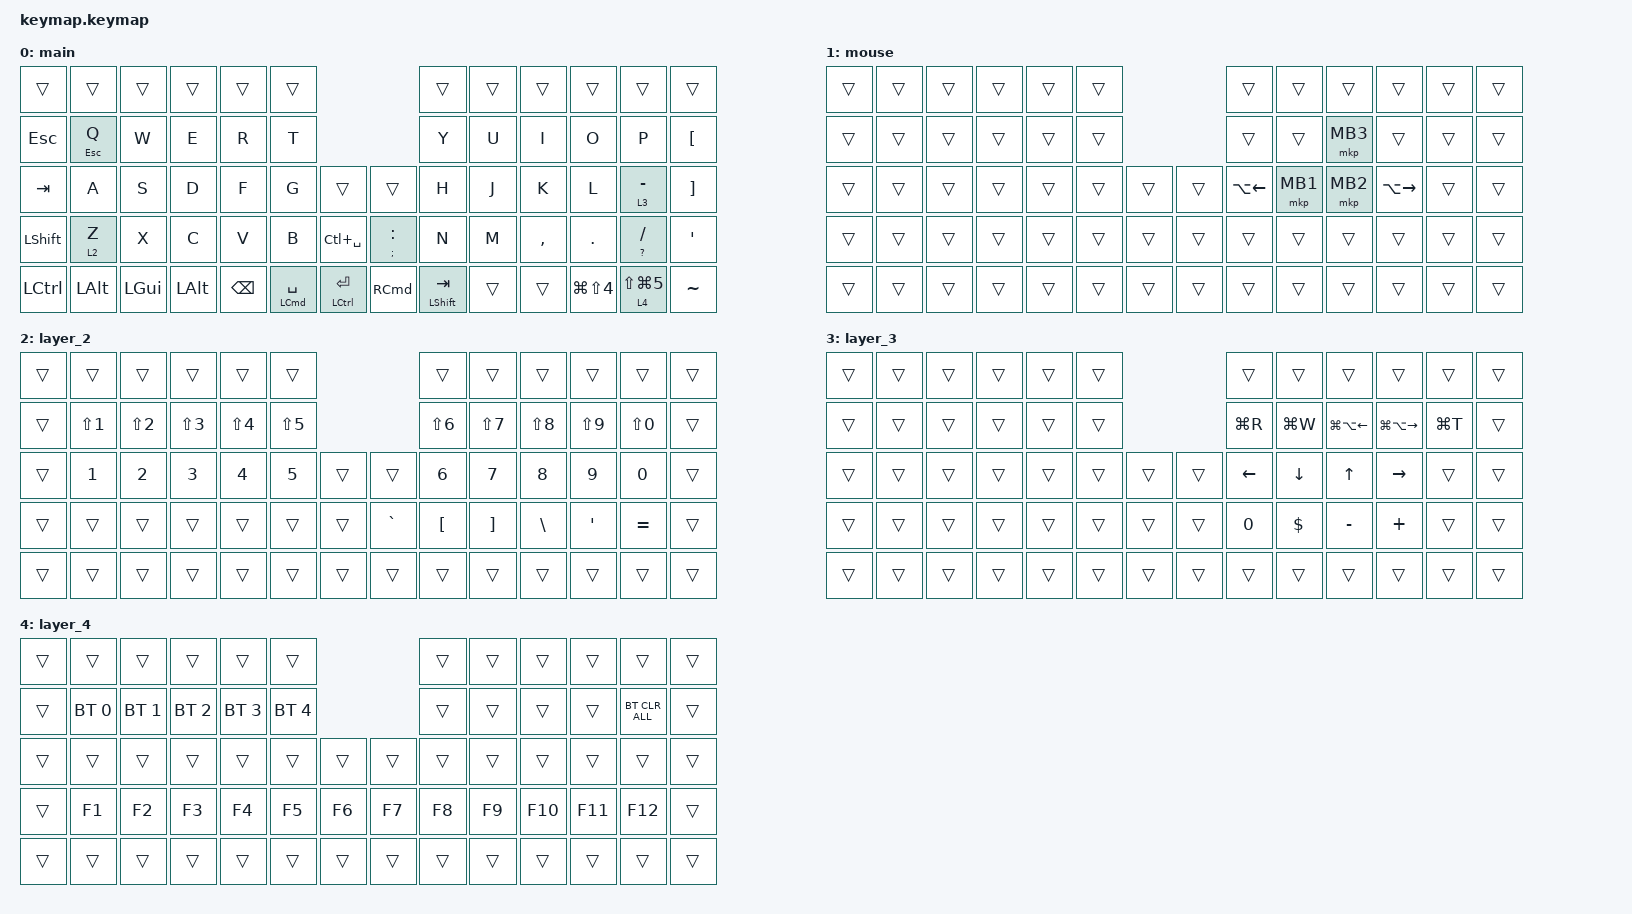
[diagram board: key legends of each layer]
#include <input/processors.dtsi>
#include <behaviors.dtsi>
#include <dt-bindings/zmk/bt.h>
#include <dt-bindings/zmk/keys.h>
#include <dt-bindings/zmk/pointing.h>

/ {
    scroll_encoder: scroll_encoder {
        compatible = "zmk,behavior-sensor-rotate";
        #sensor-binding-cells = <0>;
        bindings = <&msc SCRL_UP>, <&msc SCRL_DOWN>;
    };

    combos {
        compatible = "zmk,combos";

        tab {
            bindings = <&kp TAB>;
            key-positions = <25 26>;
            layers = <0>;
        };

        esc {
            bindings = <&kp ESCAPE>;
            key-positions = <13 14>;
            layers = <0>;
        };

        bt_clear {
            bindings = <&bt BT_NXT>;
            key-positions = <28 29 57>;
            layers = <2>;
        };

        minus {
            bindings = <&kp MINUS>;
            key-positions = <20 21>;
        };
    };

    behaviors {
    };

    keymap {
        compatible = "zmk,keymap";

        main {
            bindings = <
&trans          &trans        &trans    &trans    &trans         &trans                                                             &trans         &trans  &trans     &trans                &trans             &trans
&kp ESC         &mt ESCAPE Q  &kp W     &kp E     &kp R          &kp T                                                              &kp Y          &kp U   &kp I      &kp O                 &kp P              &kp LEFT_BRACKET
&kp TAB         &kp A         &kp S     &kp D     &kp F          &kp G                   &trans                  &trans             &kp H          &kp J   &kp K      &kp L                 &lt 3 MINUS        &kp RBKT
&kp LEFT_SHIFT  &lt 2 Z       &kp X     &kp C     &kp V          &kp B                   &kp LC(SPACE)           &mt SEMI COLON     &kp N          &kp M   &kp COMMA  &kp DOT               &mt QUESTION FSLH  &kp APOS
&kp LCTRL       &kp LALT      &kp LGUI  &kp LALT  &kp BACKSPACE  &mt LEFT_COMMAND SPACE  &mt LEFT_CONTROL ENTER  &kp RIGHT_COMMAND  &mt LSHFT TAB  &trans  &trans     &kp LG(LS(NUMBER_4))  &lt 4 LS(LG(N5))   &kp TILDE
            >;
        };

        mouse {
            bindings = <
&trans  &trans  &trans  &trans  &trans  &trans                  &trans        &trans    &trans    &trans         &trans  &trans
&trans  &trans  &trans  &trans  &trans  &trans                  &trans        &trans    &mkp MB3  &trans         &trans  &trans
&trans  &trans  &trans  &trans  &trans  &trans  &trans  &trans  &kp LA(LEFT)  &mkp MB1  &mkp MB2  &kp LA(RIGHT)  &trans  &trans
&trans  &trans  &trans  &trans  &trans  &trans  &trans  &trans  &trans        &trans    &trans    &trans         &trans  &trans
&trans  &trans  &trans  &trans  &trans  &trans  &trans  &trans  &trans        &trans    &trans    &trans         &trans  &trans
            >;
        };

        layer_2 {
            bindings = <
&trans  &trans            &trans            &trans      &trans      &trans                         &trans      &trans      &trans      &trans      &trans      &trans
&trans  &kp LS(NUMBER_1)  &kp LS(NUMBER_2)  &kp LS(N3)  &kp LS(N4)  &kp LS(N5)                     &kp LS(N6)  &kp LS(N7)  &kp LS(N8)  &kp LS(N9)  &kp LS(N0)  &trans
&trans  &kp N1            &kp N2            &kp N3      &kp N4      &kp N5      &trans  &trans     &kp N6      &kp N7      &kp N8      &kp N9      &kp N0      &trans
&trans  &trans            &trans            &trans      &trans      &trans      &trans  &kp GRAVE  &kp LBKT    &kp RBKT    &kp BSLH    &kp APOS    &kp EQUAL   &trans
&trans  &trans            &trans            &trans      &trans      &trans      &trans  &trans     &trans      &trans      &trans      &trans      &trans      &trans
            >;
        };

        layer_3 {
            bindings = <
&trans  &trans  &trans  &trans  &trans  &trans                  &trans     &trans      &trans                  &trans             &trans     &trans
&trans  &trans  &trans  &trans  &trans  &trans                  &kp LG(R)  &kp LG(W)   &kp LG(LA(LEFT_ARROW))  &kp LG(LA(RIGHT))  &kp LG(T)  &trans
&trans  &trans  &trans  &trans  &trans  &trans  &trans  &trans  &kp LEFT   &kp DOWN    &kp UP                  &kp RIGHT          &trans     &trans
&trans  &trans  &trans  &trans  &trans  &trans  &trans  &trans  &kp N0     &kp DOLLAR  &kp MINUS               &kp PLUS           &trans     &trans
&trans  &trans  &trans  &trans  &trans  &trans  &trans  &trans  &trans     &trans      &trans                  &trans             &trans     &trans
            >;
        };

        layer_4 {
            bindings = <
&trans  &trans        &trans        &trans        &trans        &trans                        &trans  &trans  &trans   &trans   &trans          &trans
&trans  &bt BT_SEL 0  &bt BT_SEL 1  &bt BT_SEL 2  &bt BT_SEL 3  &bt BT_SEL 4                  &trans  &trans  &trans   &trans   &bt BT_CLR_ALL  &trans
&trans  &trans        &trans        &trans        &trans        &trans        &trans  &trans  &trans  &trans  &trans   &trans   &trans          &trans
&trans  &kp F1        &kp F2        &kp F3        &kp F4        &kp F5        &kp F6  &kp F7  &kp F8  &kp F9  &kp F10  &kp F11  &kp F12         &trans
&trans  &trans        &trans        &trans        &trans        &trans        &trans  &trans  &trans  &trans  &trans   &trans   &trans          &trans
            >;
        };
    };
};
